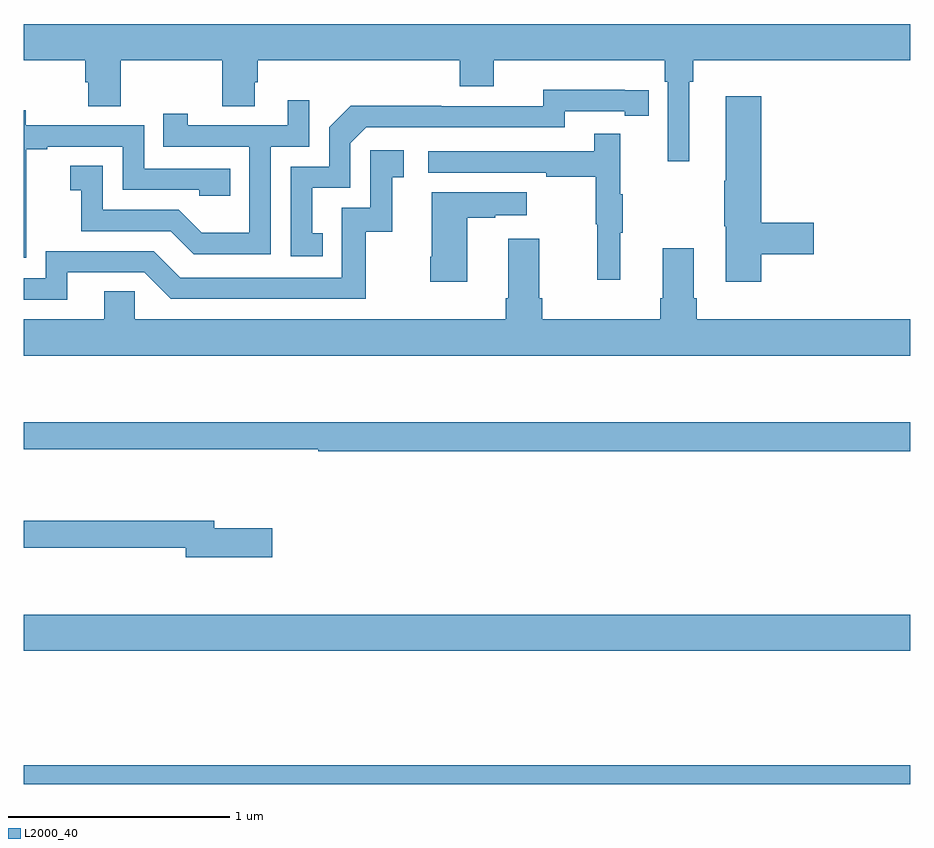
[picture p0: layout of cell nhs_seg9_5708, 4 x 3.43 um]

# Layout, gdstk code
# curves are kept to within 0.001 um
import gdstk
lib = gdstk.Library(unit=1e-6, precision=1e-09)
def R(c, l, rs):  # rectangles x0, y0, x1, y1
    for r in rs: c.add(gdstk.rectangle(r[:2], r[2:], *l))
def P(c, l, *ps):  # polygons
    for p in ps: c.add(gdstk.Polygon(p, *l))
L2000_40 = (2000, 40)

nhs_seg9_5708 = lib.new_cell('nhs_seg9_5708')
R(nhs_seg9_5708, L2000_40, [(443,1182.5,447,1182.584), (443,1183.1,447,1183.264)])
P(nhs_seg9_5708, L2000_40, [(446.002,1185.668),(446.021,1185.668),(446.021,1185.764),(447,1185.764),(447,1185.928),(443,1185.928),(443,1185.764),(443.279,1185.764),(443.279,1185.666),(443.291,1185.666),(443.291,1185.556),(443.439,1185.556),(443.439,1185.764),(443.896,1185.764),(443.896,1185.556),(444.043,1185.556),(444.043,1185.666),(444.056,1185.666),(444.056,1185.764),(444.968,1185.764),(444.968,1185.647),(445.12,1185.647),(445.12,1185.764),(445.892,1185.764),(445.892,1185.668),(445.905,1185.668),(445.905,1185.309),(446.002,1185.309)],
  [(444.35,1184.985),(444.301,1184.985),(444.301,1185.189),(444.474,1185.189),(444.474,1185.39),(444.546,1185.462),(445.44,1185.462),(445.44,1185.534),(445.712,1185.534),(445.712,1185.514),(445.82,1185.514),(445.82,1185.63),(445.344,1185.631),(445.344,1185.558),(444.884,1185.558),(444.884,1185.56),(444.476,1185.56),(444.378,1185.462),(444.378,1185.285),(444.204,1185.285),(444.204,1184.88),(444.35,1184.88)],
  [(446.327,1184.89),(446.563,1184.89),(446.563,1185.032),(446.327,1185.032),(446.327,1185.601),(446.168,1185.601),(446.168,1185.221),(446.161,1185.221),(446.161,1185.015),(446.168,1185.015),(446.168,1184.766),(446.327,1184.766)],
  [(444.114,1185.375),(444.288,1185.375),(444.288,1185.583),(444.191,1185.583),(444.191,1185.471),(443.74,1185.471),(443.74,1185.523),(443.629,1185.523),(443.629,1185.375),(444.018,1185.375),(444.018,1184.986),(443.804,1184.986),(443.7,1185.09),(443.358,1185.09),(443.358,1185.289),(443.211,1185.289),(443.211,1185.179),(443.26,1185.179),(443.26,1184.994),(443.663,1184.994),(443.768,1184.889),(444.114,1184.889)],
  [(443.013,1185.079),(443.012,1185.079),(443.012,1185.363),(443.107,1185.363),(443.107,1185.375),(443.448,1185.375),(443.448,1185.18),(443.793,1185.18),(443.793,1185.153),(443.933,1185.153),(443.933,1185.276),(443.544,1185.276),(443.544,1185.471),(443.01,1185.471),(443.01,1185.54),(443,1185.54),(443,1184.873),(443.013,1184.873)],
  [(445.691,1184.987),(445.702,1184.987),(445.702,1185.161),(445.691,1185.161),(445.691,1185.433),(445.573,1185.433),(445.573,1185.354),(444.825,1185.354),(444.825,1185.258),(445.357,1185.258),(445.357,1185.238),(445.581,1185.238),(445.581,1185.024),(445.588,1185.024),(445.588,1184.775),(445.691,1184.775)],
  [(443.197,1184.808),(443.544,1184.808),(443.664,1184.688),(444.544,1184.688),(444.544,1184.991),(444.662,1184.991),(444.662,1185.237),(444.715,1185.237),(444.715,1185.358),(444.564,1185.358),(444.564,1185.099),(444.435,1185.099),(444.435,1184.784),(443.706,1184.784),(443.586,1184.904),(443.1,1184.904),(443.1,1184.781),(443,1184.781),(443,1184.685),(443.197,1184.685)],
  [(445,1185.055),(445.127,1185.055),(445.127,1185.065),(445.27,1185.065),(445.27,1185.169),(444.842,1185.169),(444.842,1184.878),(444.835,1184.878),(444.835,1184.766),(445,1184.766)],
  [(447,1184.596),(446.036,1184.596),(446.036,1184.692),(446.023,1184.692),(446.023,1184.917),(445.883,1184.917),(445.883,1184.692),(445.871,1184.692),(445.871,1184.596),(445.34,1184.596),(445.34,1184.692),(445.327,1184.692),(445.327,1184.959),(445.187,1184.959),(445.187,1184.692),(445.175,1184.692),(445.175,1184.596),(443.502,1184.596),(443.502,1184.723),(443.363,1184.723),(443.363,1184.596),(443,1184.596),(443,1184.432),(447,1184.432)],
  [(447,1184.131),(443,1184.131),(443,1184.01),(444.328,1184.01),(444.328,1184.002),(447,1184.002)],
  [(444.121,1183.653),(443.86,1183.653),(443.86,1183.687),(443,1183.687),(443,1183.566),(443.732,1183.566),(443.732,1183.523),(444.121,1183.523)])

lib.write_gds('nhs_seg9_5708.gds')
